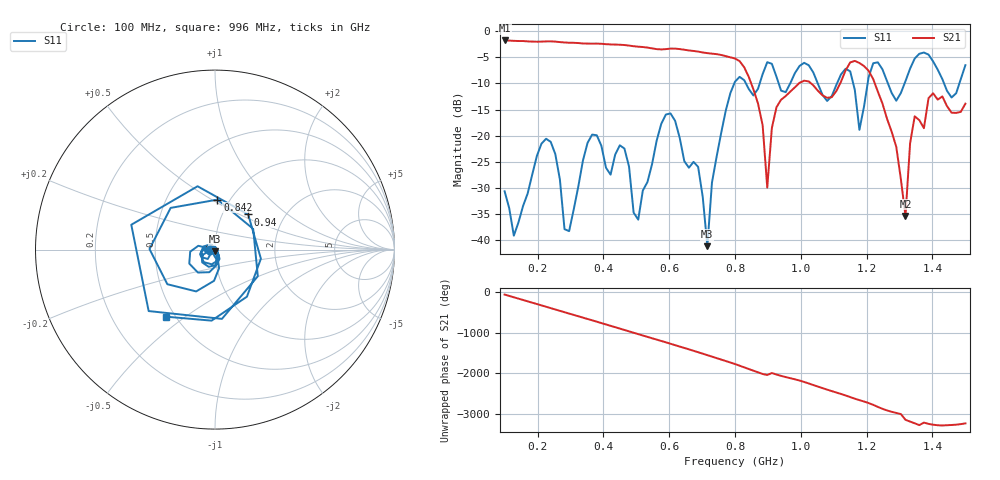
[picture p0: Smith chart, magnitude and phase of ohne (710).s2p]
! NanoVNA-App
! Date: 2025-09-25 14:26:19
! Start: 100MHz Stop: 1,5GHz Points: 101
! S-Parameter data: F S11 S21 S12 S22
# Hz S RI R 50
!  Frequency  S11_Real  S11_Imag  S21_Real  S21_Imag  S12_Real  S12_Imag  S22_Real  S22_Imag
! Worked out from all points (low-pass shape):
!   101 points, 100 MHz to 1.5 GHz, reference 50 ohm
!   highest |S21| = -1.79 dB at 100 MHz (marker M1); lowest = -35.4 dB at 1.318 GHz (marker M2)
!   |S21| within 3 dB of the highest: start of sweep to 772.1 MHz
!   lowest |S11| = -41.1 dB at 716 MHz (marker M3), VSWR 1.02, Z = 49.9 - j0.864 ohm
!   |S11| at or under -10 dB: start of sweep to 797.9 MHz; 833 MHz to 875.1 MHz (42.12 MHz wide, 4.93 % of centre); 1.051 GHz to 1.11 GHz (58.65 MHz wide, 5.43 % of centre) (the widest 3 of 7)
!   S12 and S22 are empty: the file has one direction only
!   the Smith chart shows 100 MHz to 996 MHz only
!   S11 on the Smith chart (normalised r, x): 100 MHz: 0.94, -0.01; 842 MHz: 0.88, +0.53; 940 MHz: 1.32, +0.56; 996 MHz: 0.44, -0.42
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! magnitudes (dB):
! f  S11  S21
! 100 MHz  -30.6  -1.8
! 128 MHz  -39.1  -1.9
! 226 MHz  -20.6  -2.0
! 296 MHz  -38.3  -2.2
! 338 MHz  -24.8  -2.4
! 464 MHz  -22.5  -2.7
! 506 MHz  -36.1  -3.0
! 576 MHz  -17.7  -3.5
! 688 MHz  -26.0  -3.9
! 716 MHz  -41.1  -4.2
! 800 MHz  -9.7  -5.2
! 842 MHz  -11.1  -8.8
! 898 MHz  -6.0  -29.9
! 940 MHz  -11.4  -13.1
! 996 MHz  -6.7  -9.9
! 1.038 GHz  -7.9  -10.4
! 1.178 GHz  -18.9  -6.1
! 1.22 GHz  -6.1  -9.2
! 1.276 GHz  -11.8  -19.3
! 1.318 GHz  -9.6  -35.4
! 1.346 GHz  -5.3  -16.3
! 1.5 GHz  -6.5  -13.9
